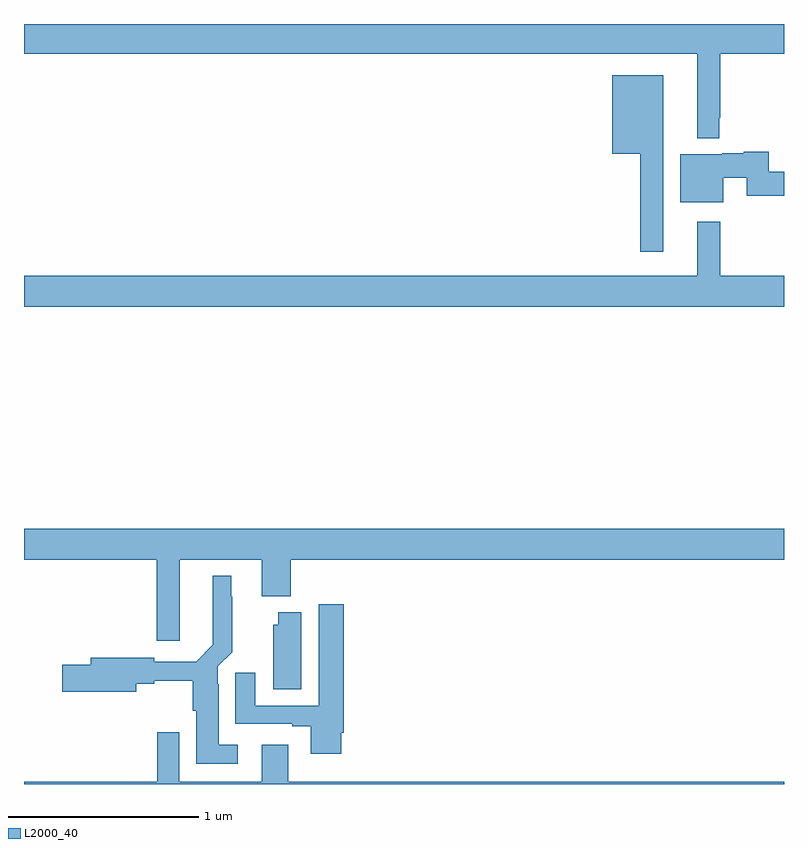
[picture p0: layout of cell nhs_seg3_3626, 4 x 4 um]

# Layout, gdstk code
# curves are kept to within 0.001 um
import gdstk
lib = gdstk.Library(unit=1e-6, precision=1e-09)
def P(c, l, *ps):  # polygons
    for p in ps: c.add(gdstk.Polygon(p, *l))
L2000_40 = (2000, 40)

nhs_seg3_3626 = lib.new_cell('nhs_seg3_3626')
P(nhs_seg3_3626, L2000_40, [(302.658,705.907),(302.665,705.907),(302.665,706.244),(303,706.244),(303,706.4),(299,706.4),(299,706.244),(302.543,706.244),(302.543,705.8),(302.658,705.8)],
  [(302.365,706.129),(302.096,706.129),(302.096,705.716),(302.244,705.716),(302.244,705.201),(302.365,705.201)],
  [(302.68,705.592),(302.805,705.592),(302.805,705.495),(303,705.495),(303,705.623),(302.921,705.623),(302.921,705.728),(302.787,705.728),(302.787,705.721),(302.676,705.721),(302.676,705.715),(302.453,705.715),(302.453,705.461),(302.68,705.461)],
  [(303,705.076),(302.665,705.076),(302.665,705.358),(302.543,705.358),(302.543,705.076),(299,705.076),(299,704.912),(303,704.912)],
  [(299.821,703.58),(300.251,703.58),(300.251,703.388),(300.404,703.388),(300.404,703.58),(303,703.58),(303,703.744),(299,703.744),(299,703.58),(299.699,703.58),(299.699,703.155),(299.821,703.155)],
  [(300.124,702.607),(300.025,702.607),(300.025,702.926),(300.021,702.926),(300.021,703.02),(300.095,703.094),(300.095,703.385),(300.091,703.385),(300.091,703.495),(299.993,703.495),(299.994,703.132),(299.906,703.044),(299.686,703.044),(299.686,703.064),(299.351,703.064),(299.351,703.028),(299.202,703.028),(299.202,702.886),(299.59,702.886),(299.59,702.928),(299.686,702.928),(299.686,702.943),(299.888,702.943),(299.888,702.786),(299.906,702.786),(299.906,702.506),(300.124,702.506)],
  [(300.67,702.67),(300.683,702.67),(300.683,703.345),(300.551,703.345),(300.551,702.813),(300.217,702.813),(300.217,702.985),(300.113,702.985),(300.113,702.717),(300.413,702.717),(300.413,702.705),(300.509,702.705),(300.509,702.558),(300.67,702.558)],
  [(300.46,703.303),(300.338,703.303),(300.338,703.239),(300.311,703.239),(300.311,702.898),(300.46,702.898)],
  [(303,702.412),(300.391,702.412),(300.391,702.607),(300.251,702.607),(300.251,702.412),(299.817,702.412),(299.817,702.673),(299.701,702.673),(299.701,702.412),(299,702.412),(299,702.4),(303,702.4)])

lib.write_gds('nhs_seg3_3626.gds')
